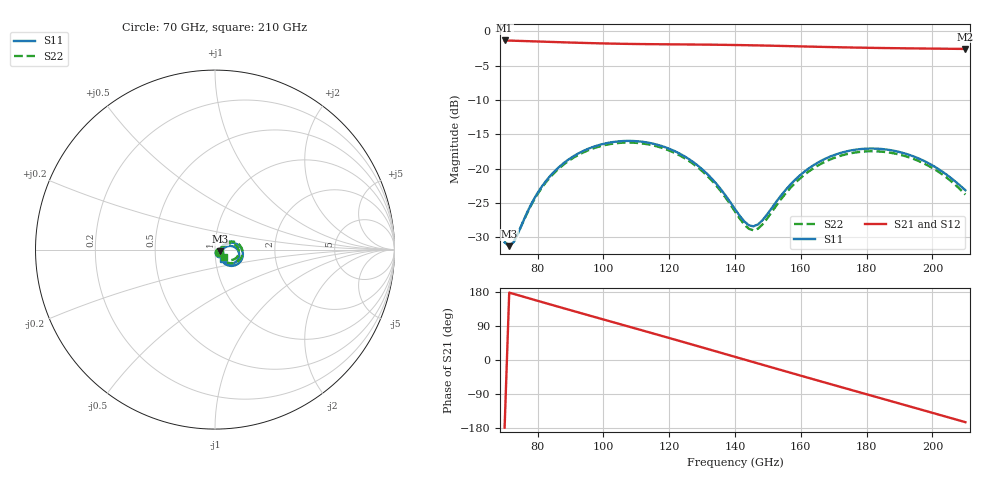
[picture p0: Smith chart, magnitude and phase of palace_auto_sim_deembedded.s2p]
! Created with skrf 1.11.0 (http://scikit-rf.org).
# GHz S DB R 50.0
!freq dBS11 angS11 dBS21 angS21 dBS12 angS12 dBS22 angS22
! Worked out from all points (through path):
!   101 points, 70 GHz to 210 GHz, reference 50 ohm
!   highest |S21| = -1.33 dB at 70 GHz (marker M1); lowest = -2.6 dB at 210 GHz (marker M2)
!   group delay of S21, straight-line fit = 6.85 ps
!   lowest |S11| = -31.3 dB at 71.4 GHz (marker M3), VSWR 1.06, Z = 52.6 - j0.886 ohm
!   |S11| at or under -10 dB: start of sweep to end of sweep
!   |S22| runs from -31.2 to -16.2 dB; largest |S21 - S12| = 9.1e-14
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70  -30.76 -35.8  -1.33 -178.6  -1.33 -178.6  -30.71 -30.8
71.4  -31.31 -18.0  -1.35 177.8  -1.35 177.8  -31.21 -13.6
72.8  -30.69 -0.6  -1.37 174.3  -1.37 174.3  -30.62 3.3
78.4  -24.90 26.7  -1.45 160.3  -1.45 160.3  -25.03 30.8
82.6  -21.79 26.4  -1.52 149.8  -1.52 149.8  -21.97 30.9
88.2  -19.11 19.5  -1.61 135.9  -1.61 135.9  -19.32 24.6
93.8  -17.45 10.0  -1.69 122.2  -1.69 122.2  -17.67 15.6
100.8  -16.32 -3.0  -1.77 105.1  -1.77 105.1  -16.55 3.0
106.4  -15.98 -13.9  -1.82 91.4  -1.82 91.4  -16.22 -7.4
117.6  -16.70 -35.3  -1.89 64.0  -1.89 64.0  -16.95 -28.1
123.2  -17.82 -45.0  -1.91 50.2  -1.91 50.2  -18.09 -37.6
130.2  -20.17 -54.7  -1.94 32.8  -1.94 32.8  -20.44 -47.0
140  -25.91 -50.6  -1.99 8.3  -1.99 8.3  -26.25 -43.0
144.2  -28.26 -29.4  -2.03 -2.1  -2.03 -2.1  -28.78 -21.7
147  -28.14 -9.8  -2.06 -9.1  -2.06 -9.1  -28.75 -1.2
155.4  -23.10 14.7  -2.14 -30.0  -2.14 -30.0  -23.61 25.1
163.8  -19.53 8.9  -2.24 -50.8  -2.24 -50.8  -19.97 19.8
170.8  -17.92 -1.4  -2.31 -68.0  -2.31 -68.0  -18.33 9.8
176.4  -17.26 -10.7  -2.37 -81.7  -2.37 -81.7  -17.67 0.7
187.6  -17.34 -29.5  -2.45 -109.1  -2.45 -109.1  -17.72 -17.9
200.2  -19.59 -46.4  -2.52 -139.9  -2.52 -139.9  -19.98 -35.5
210  -23.16 -48.1  -2.57 -164.1  -2.57 -164.1  -23.79 -39.2
